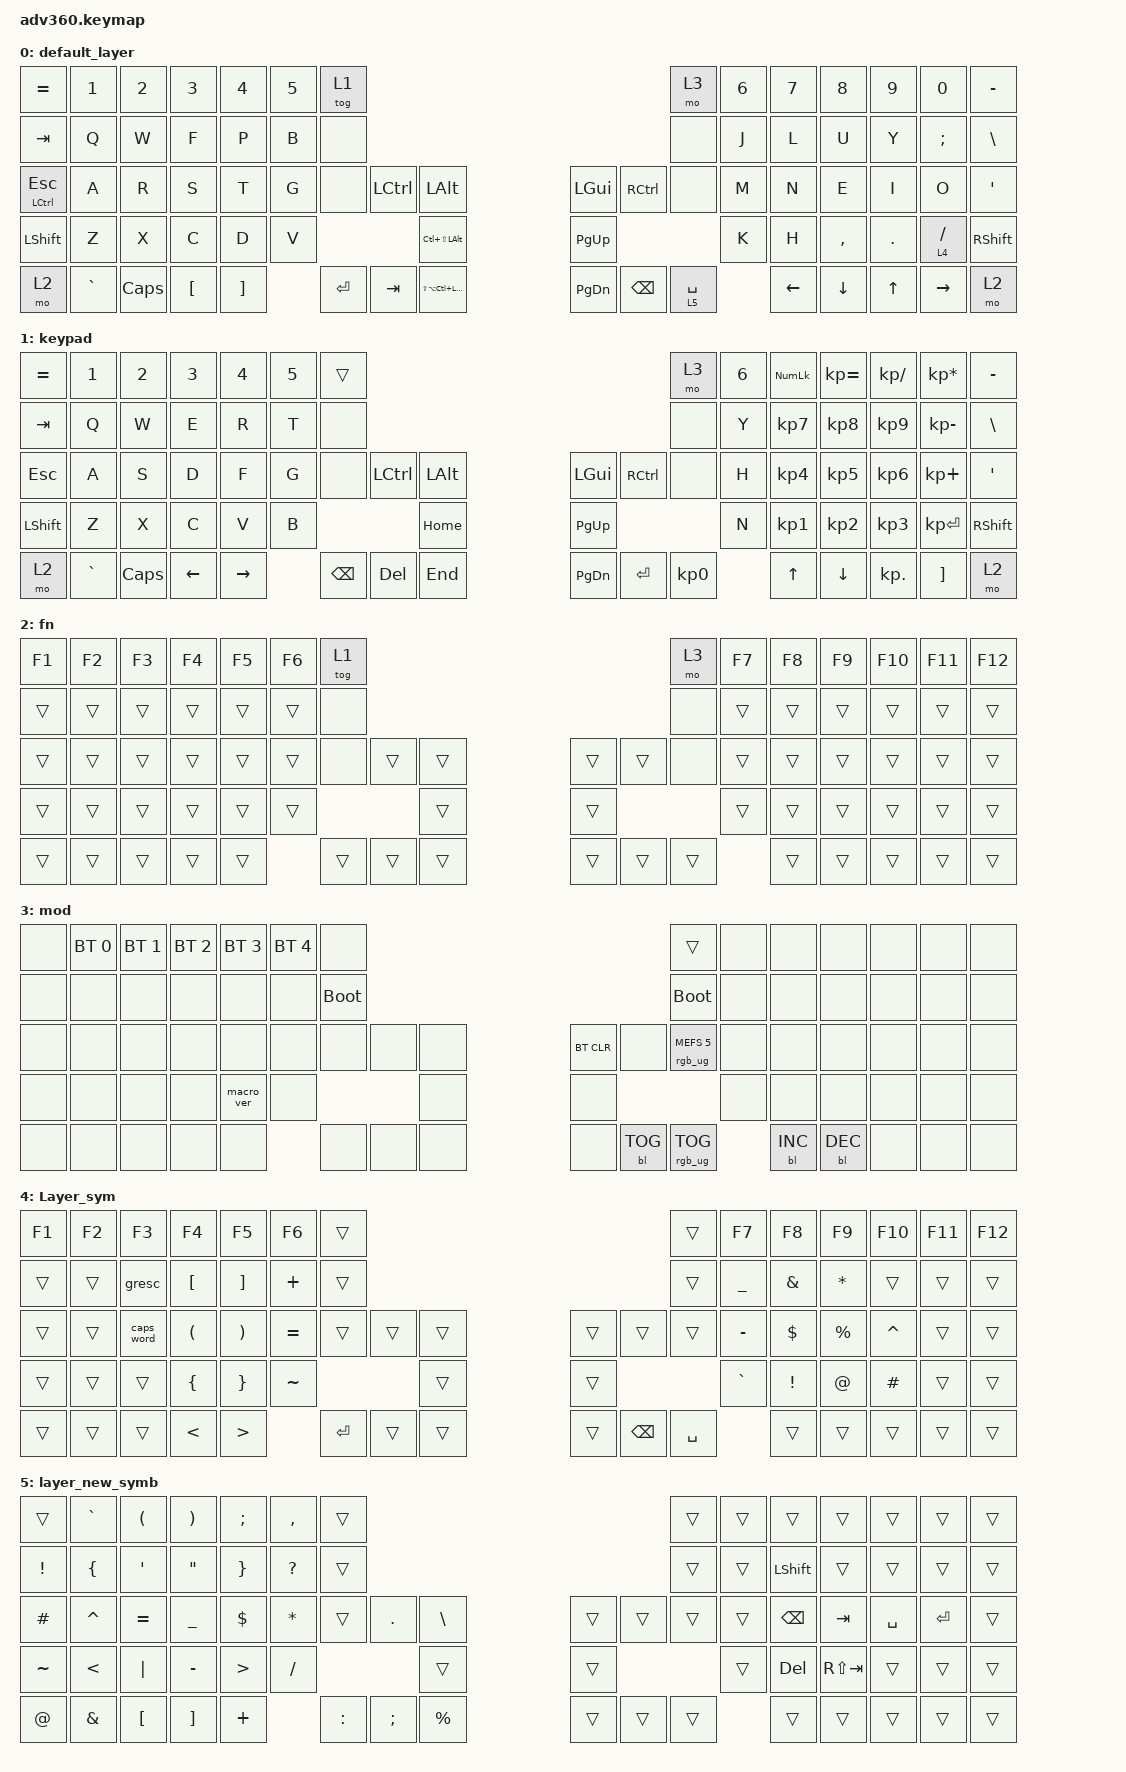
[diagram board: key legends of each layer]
#include <behaviors.dtsi>
#include <dt-bindings/zmk/backlight.h>
#include <dt-bindings/zmk/bt.h>
#include <dt-bindings/zmk/keys.h>
#include <dt-bindings/zmk/rgb.h>

/ {
    behaviors {
        #include "macros.dtsi"
      #include "version.dtsi"
      #ifndef VERSION_MACRO

        macro_ver: macro_ver {
            compatible = "zmk,behavior-macro";
            label = "macro_version";
            #binding-cells = <0>;
            bindings = <&kp RET>;
        };

        #endif

        hm: homerow_mods {
            compatible = "zmk,behavior-hold-tap";
            label = "HOMEROW_MODS";
            #binding-cells = <2>;
            tapping-term-ms = <200>;
            quick_tap_ms = <175>;
            flavor = "tap-preferred";
            bindings = <&kp>, <&kp>;
        };
    };

    macros {
    };

    keymap {
        compatible = "zmk,keymap";

        default_layer {
            bindings = <
&kp EQUAL                &kp N1     &kp N2    &kp N3    &kp N4    &kp N5  &tog 1                                                                        &mo 3        &kp N6  &kp N7    &kp N8     &kp N9   &kp N0         &kp MINUS
&kp TAB                  &kp Q      &kp W     &kp F     &kp P     &kp B   &none                                                                         &none        &kp J   &kp L     &kp U      &kp Y    &kp SEMICOLON  &kp BSLH
&hm LEFT_CONTROL ESCAPE  &kp A      &kp R     &kp S     &kp T     &kp G   &none      &kp LCTRL  &kp LALT                      &kp LGUI   &kp RCTRL      &none        &kp M   &kp N     &kp E      &kp I    &kp O          &kp SQT
&kp LSHFT                &kp Z      &kp X     &kp C     &kp D     &kp V                         &kp LC(LS(LEFT_ALT))          &kp PG_UP                              &kp K   &kp H     &kp COMMA  &kp DOT  &lt 4 SLASH    &kp RSHFT
&mo 2                    &kp GRAVE  &kp CAPS  &kp LBKT  &kp RBKT          &kp ENTER  &kp TAB    &kp LS(LA(LC(LEFT_GUI)))      &kp PG_DN  &kp BACKSPACE  &lt 5 SPACE          &kp LEFT  &kp DOWN   &kp UP   &kp RIGHT      &mo 2
            >;
        };

        keypad {
            bindings = <
&kp EQUAL  &kp N1     &kp N2    &kp N3    &kp N4     &kp N5  &trans                                                   &mo 3      &kp N6  &kp KP_NUM  &kp KP_EQUAL  &kp KP_DIVIDE  &kp KP_MULTIPLY  &kp MINUS
&kp TAB    &kp Q      &kp W     &kp E     &kp R      &kp T   &none                                                    &none      &kp Y   &kp KP_N7   &kp KP_N8     &kp KP_N9      &kp KP_MINUS     &kp BSLH
&kp ESC    &kp A      &kp S     &kp D     &kp F      &kp G   &none     &kp LCTRL  &kp LALT      &kp LGUI   &kp RCTRL  &none      &kp H   &kp KP_N4   &kp KP_N5     &kp KP_N6      &kp KP_PLUS      &kp SQT
&kp LSHFT  &kp Z      &kp X     &kp C     &kp V      &kp B                        &kp HOME      &kp PG_UP                        &kp N   &kp KP_N1   &kp KP_N2     &kp KP_N3      &kp KP_ENTER     &kp RSHFT
&mo 2      &kp GRAVE  &kp CAPS  &kp LEFT  &kp RIGHT          &kp BSPC  &kp DEL    &kp END       &kp PG_DN  &kp ENTER  &kp KP_N0          &kp UP      &kp DOWN      &kp KP_DOT     &kp RBKT         &mo 2
            >;
        };

        fn {
            bindings = <
&kp F1  &kp F2  &kp F3  &kp F4  &kp F5  &kp F6  &tog 1                                      &mo 3   &kp F7  &kp F8  &kp F9  &kp F10  &kp F11  &kp F12
&trans  &trans  &trans  &trans  &trans  &trans  &none                                       &none   &trans  &trans  &trans  &trans   &trans   &trans
&trans  &trans  &trans  &trans  &trans  &trans  &none   &trans  &trans      &trans  &trans  &none   &trans  &trans  &trans  &trans   &trans   &trans
&trans  &trans  &trans  &trans  &trans  &trans                  &trans      &trans                  &trans  &trans  &trans  &trans   &trans   &trans
&trans  &trans  &trans  &trans  &trans          &trans  &trans  &trans      &trans  &trans  &trans          &trans  &trans  &trans   &trans   &trans
            >;
        };

        mod {
            bindings = <
&none  &bt BT_SEL 0  &bt BT_SEL 1  &bt BT_SEL 2  &bt BT_SEL 3  &bt BT_SEL 4  &none                                                  &trans                  &none  &none       &none       &none  &none  &none
&none  &none         &none         &none         &none         &none         &bootloader                                            &bootloader             &none  &none       &none       &none  &none  &none
&none  &none         &none         &none         &none         &none         &none        &none  &none      &bt BT_CLR  &none       &rgb_ug RGB_MEFS_CMD 5  &none  &none       &none       &none  &none  &none
&none  &none         &none         &none         &macro_ver    &none                             &none      &none                                           &none  &none       &none       &none  &none  &none
&none  &none         &none         &none         &none                       &none        &none  &none      &none       &bl BL_TOG  &rgb_ug RGB_TOG                &bl BL_INC  &bl BL_DEC  &none  &none  &none
            >;
        };

        Layer_sym {
            bindings = <
&kp F1  &kp F2  &kp F3      &kp F4         &kp F5    &kp F6     &trans                                                 &trans     &kp F7          &kp F8           &kp F9        &kp F10    &kp F11  &kp F12
&trans  &trans  &gresc      &kp LBKT       &kp RBKT  &kp PLUS   &trans                                                 &trans     &kp UNDERSCORE  &kp AMPS         &kp ASTERISK  &trans     &trans   &trans
&trans  &trans  &caps_word  &kp LPAR       &kp RPAR  &kp EQUAL  &trans      &trans  &trans      &trans  &trans         &trans     &kp MINUS       &kp DOLLAR       &kp PRCNT     &kp CARET  &trans   &trans
&trans  &trans  &trans      &kp LBRC       &kp RBRC  &kp TILDE                      &trans      &trans                            &kp GRAVE       &kp EXCLAMATION  &kp AT        &kp HASH   &trans   &trans
&trans  &trans  &trans      &kp LESS_THAN  &kp GT               &kp RETURN  &trans  &trans      &trans  &kp BACKSPACE  &kp SPACE                  &trans           &trans        &trans     &trans   &trans
            >;
        };

        layer_new_symb {
            bindings = <
&trans       &kp GRAVE       &kp LPAR          &kp RPAR           &kp SEMICOLON     &kp COMMA     &trans                                                       &trans  &trans  &trans          &trans       &trans     &trans   &trans
&kp EXCL     &kp LEFT_BRACE  &kp SQT           &kp DOUBLE_QUOTES  &kp RIGHT_BRACE   &kp QUESTION  &trans                                                       &trans  &trans  &kp LEFT_SHIFT  &trans       &trans     &trans   &trans
&kp HASH     &kp CARET       &kp EQUAL         &kp UNDER          &kp DOLLAR        &kp STAR      &trans     &kp PERIOD     &kp BACKSLASH      &trans  &trans  &trans  &trans  &kp BACKSPACE   &kp TAB      &kp SPACE  &kp RET  &trans
&kp TILDE    &kp LESS_THAN   &kp PIPE          &kp MINUS          &kp GREATER_THAN  &kp SLASH                               &trans             &trans                  &trans  &kp DEL         &kp RS(TAB)  &trans     &trans   &trans
&kp AT_SIGN  &kp AMPERSAND   &kp LEFT_BRACKET  &kp RIGHT_BRACKET  &kp PLUS                        &kp COLON  &kp SEMICOLON  &kp PERCENT        &trans  &trans  &trans          &trans          &trans       &trans     &trans   &trans
            >;
        };
    };
};
